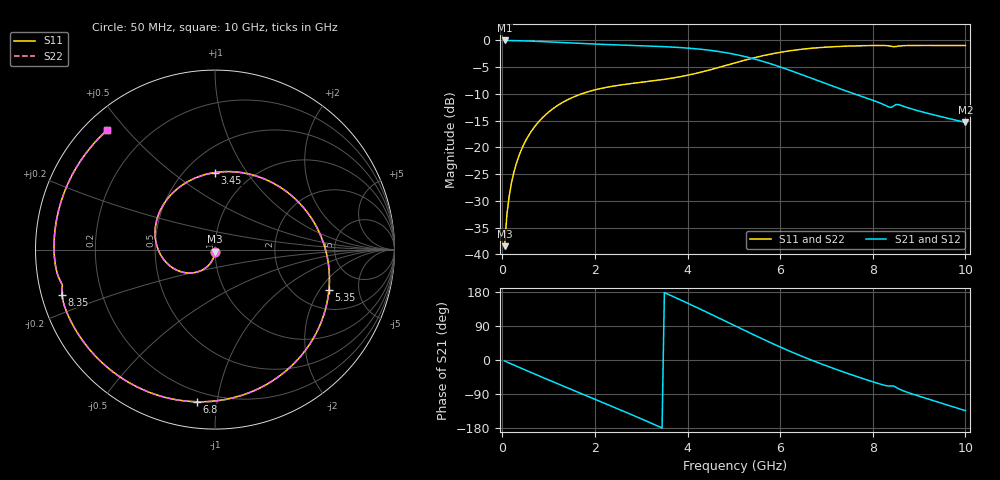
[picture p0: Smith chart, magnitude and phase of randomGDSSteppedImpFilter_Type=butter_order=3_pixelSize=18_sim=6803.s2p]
! freq	dB(S11)	phase(S11)	dB(S12)	phase(S12)
!  dB(S21)	phase(S21)	dB(S22)	phase(S22)
!S-par simulation data
#  GHz  S  DB  R 50
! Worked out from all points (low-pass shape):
!   200 points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, 50 MHz to 10 GHz, reference 50 ohm
!   highest |S21| = -0.01 dB at 50 MHz (marker M1); lowest = -15.3 dB at 10 GHz (marker M2)
!   |S21| within 3 dB of the highest: start of sweep to 5.233 GHz
!   lowest |S11| = -38.5 dB at 50 MHz (marker M3), VSWR 1.02, Z = 49.9 - j1.19 ohm
!   |S11| at or under -10 dB: start of sweep to 1.712 GHz
!   |S22| runs from -38.5 to -0.9 dB; largest |S21 - S12| = 0
!   S11 on the Smith chart (normalised r, x): 50 MHz: 1.00, -0.02; 3.45 GHz: 0.69, +0.73; 5.35 GHz: 2.98, -2.44; 6.8 GHz: 0.14, -0.88; 8.35 GHz: 0.06, -0.14; 10 GHz: 0.07, +0.44
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0.05  -38.49 -92.2  -0.01 -2.7  -0.01 -2.7  -38.49 -92.2
0.1  -32.52 -95.1  -0.01 -5.4  -0.01 -5.4  -32.52 -95.1
0.2  -26.58 -100.9  -0.03 -10.7  -0.03 -10.7  -26.58 -100.9
0.5  -18.84 -117.1  -0.09 -26.5  -0.09 -26.5  -18.84 -117.1
1.15  -12.42 -151.0  -0.33 -60.3  -0.33 -60.3  -12.42 -151.1
1.75  -9.89 178.3  -0.58 -91.0  -0.58 -91.0  -9.88 178.3
2.2  -8.86 155.4  -0.75 -113.8  -0.75 -113.8  -8.86 155.4
2.65  -8.22 132.3  -0.89 -136.9  -0.89 -136.9  -8.22 132.3
3.4  -7.40 92.6  -1.13 -176.6  -1.13 -176.6  -7.40 92.6
3.45  -7.34 89.9  -1.15 -179.3  -1.15 -179.3  -7.34 89.9
3.9  -6.69 65.0  -1.37 155.7  -1.37 155.7  -6.69 65.0
4.35  -5.81 39.2  -1.71 129.9  -1.71 129.9  -5.81 39.3
4.7  -4.99 18.8  -2.11 109.4  -2.11 109.4  -4.99 18.9
5.05  -4.14 -1.8  -2.65 88.7  -2.65 88.7  -4.14 -1.7
5.35  -3.44 -19.4  -3.25 71.1  -3.25 71.1  -3.44 -19.3
5.95  -2.30 -53.4  -4.81 37.1  -4.81 37.1  -2.30 -53.3
6.7  -1.45 -91.9  -7.16 -1.5  -7.16 -1.5  -1.45 -91.8
6.8  -1.37 -96.7  -7.48 -6.2  -7.48 -6.2  -1.37 -96.6
7.5  -1.05 -128.1  -9.69 -37.2  -9.69 -37.2  -1.05 -128.0
8.35  -1.02 -163.6  -12.47 -68.7  -12.47 -68.7  -1.02 -163.5
9.15  -0.93 166.2  -13.56 -101.2  -13.56 -101.2  -0.93 166.3
10  -0.95 131.9  -15.33 -133.7  -15.33 -133.7  -0.95 132.0
